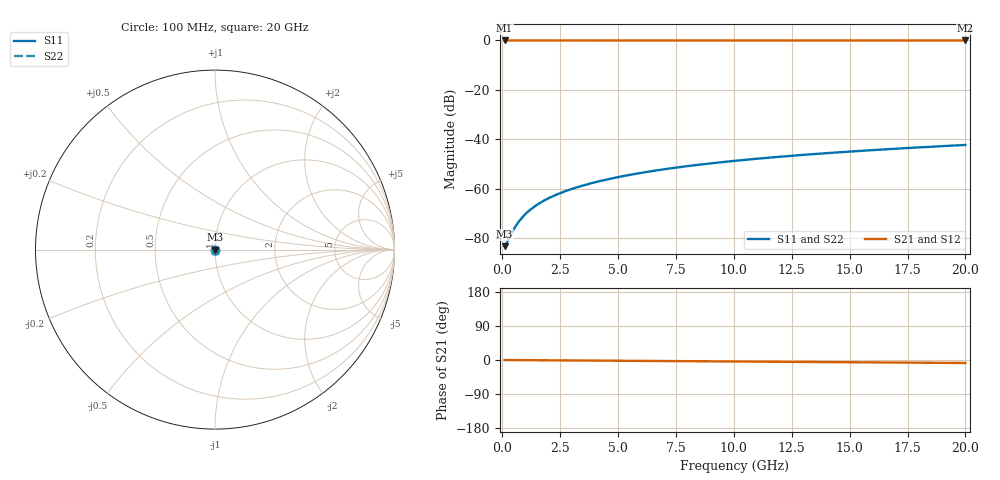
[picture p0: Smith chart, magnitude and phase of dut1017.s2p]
! Touchstone file exported from HFSS 2026.1.0
!  File:  C:/ffzhzh/LocalFiles/Ansys_Project_Files/temp_train_TSV_1017_1783188750_43440.aedt
!  Generated:  02:14:00 AM Jul  5, 2026
!  Design:  TSV
!  Project:  temp_train_TSV_1017_1783188750_43440
! Variables:
!  h_bsmrdl = 2um
!  h_ox = 20um
!  h_rdl = 5um
!  h_sub = 76.39um
!  h_tmrdl = 5um
!  h_tsv = 76.39um
!  h_via = 3um
!  l_bsmrdl = 300um
!  l_sub = 429.8um
!  l_tmrdl = 200um
!  m_sub = 200um
!  pitch = 55.87um
!  r_tsv = 14.9um
!  s_tmrdl = 10um
!  w_bsmrdl = 18um
!  w_sub = 500um
!  w_tmrdl = 12um
!  x_tsv_center1 = 206um
!  x_tsv_center2 = 524um
!  x_tsv_center3 = 736um
!  x_tsv_center4 = 1054um
!  x_tsv_center5 = 1266um
!  x_tsv_center6 = 1584um
# GHz S MA R 50.000000
! Terminal data exported
! Port[1] = TSV1_1_T1
! Port[2] = TSV1_1_T2
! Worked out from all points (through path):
!   200 points, 100 MHz to 20 GHz, reference 50 ohm
!   highest |S21| = 0.00 dB at 100 MHz (marker M1); lowest = 0.0 dB at 20 GHz (marker M2)
!   group delay of S21, straight-line fit = 1.09 ps
!   lowest |S11| = -83.2 dB at 100 MHz (marker M3), VSWR 1.00, Z = 50 + j7.46e-05 ohm
!   |S11| at or under -10 dB: start of sweep to end of sweep
!   |S22| runs from -83.2 to -42.2 dB; largest |S21 - S12| = 2e-15
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0.1  6.941e-05 0.6  0.9999 -0.0  0.9999 -0.0  6.941e-05 0.6
! Gamma 0 0 0 0
! Port Impedance 50 0 50 0
0.3  0.000102 -6.3  0.9999 -0.1  0.9999 -0.1  0.000102 -6.3
0.5  0.000153 -18.7  0.9999 -0.2  0.9999 -0.2  0.000153 -18.7
0.6  0.0001823 -24.6  0.9998 -0.2  0.9998 -0.2  0.0001823 -24.6
0.8  0.0002446 -34.8  0.9998 -0.3  0.9998 -0.3  0.0002446 -34.8
0.9  0.0002769 -38.9  0.9998 -0.4  0.9998 -0.4  0.0002769 -38.9
1.1  0.0003427 -45.8  0.9998 -0.4  0.9998 -0.4  0.0003427 -45.8
1.3  0.0004093 -51.0  0.9997 -0.5  0.9997 -0.5  0.0004093 -51.0
1.5  0.0004766 -55.2  0.9997 -0.6  0.9997 -0.6  0.0004766 -55.2
1.9  0.0006124 -61.1  0.9997 -0.8  0.9997 -0.8  0.0006124 -61.1
2.4  0.0007845 -66.0  0.9997 -1.0  0.9997 -1.0  0.0007845 -66.0
2.9  0.0009596 -69.2  0.9996 -1.2  0.9996 -1.2  0.0009596 -69.2
3.5  0.001174 -72.0  0.9996 -1.4  0.9996 -1.4  0.001174 -72.0
4.2  0.001429 -74.3  0.9996 -1.7  0.9996 -1.7  0.001429 -74.3
5  0.001727 -76.3  0.9995 -2.0  0.9995 -2.0  0.001727 -76.3
5.9  0.002068 -78.1  0.9995 -2.3  0.9995 -2.3  0.002068 -78.1
6.8  0.002415 -79.6  0.9994 -2.7  0.9994 -2.7  0.002414 -79.6
8.3  0.003 -81.6  0.9994 -3.3  0.9994 -3.3  0.003 -81.6
10.1  0.00371 -83.6  0.9993 -4.0  0.9993 -4.0  0.00371 -83.6
13.4  0.005026 -86.5  0.9992 -5.3  0.9992 -5.3  0.005026 -86.5
16.7  0.006361 -88.9  0.9991 -6.6  0.9991 -6.6  0.006361 -88.9
20  0.00772 -90.9  0.999 -7.9  0.999 -7.9  0.00772 -90.9
